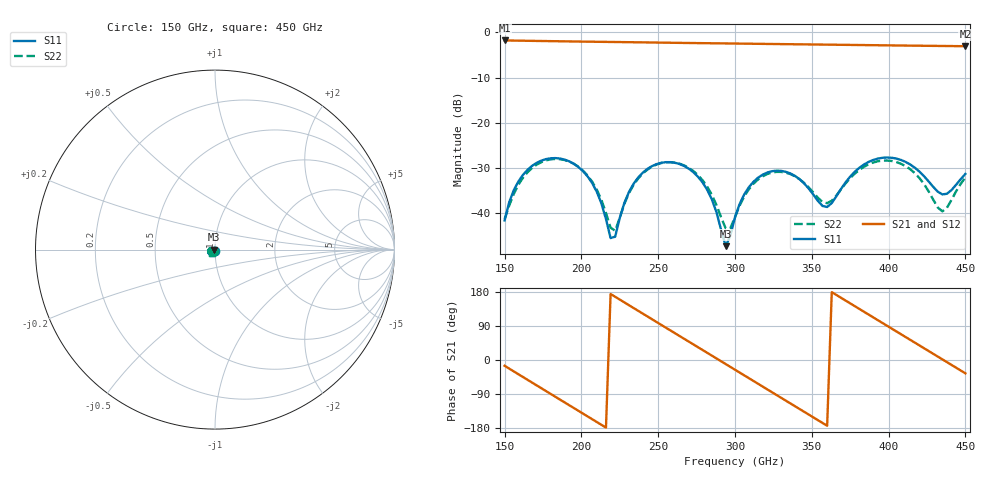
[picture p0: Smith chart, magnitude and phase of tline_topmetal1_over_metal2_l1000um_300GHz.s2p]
#  GHZ S DB R 50
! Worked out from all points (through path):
!   101 points, 150 GHz to 450 GHz, reference 50 ohm
!   highest |S21| = -1.78 dB at 150 GHz (marker M1); lowest = -3.1 dB at 450 GHz (marker M2)
!   group delay of S21, straight-line fit = 6.85 ps
!   lowest |S11| = -47.4 dB at 294 GHz (marker M3), VSWR 1.01, Z = 49.6 - j0.0966 ohm
!   |S11| at or under -10 dB: start of sweep to end of sweep
!   |S22| runs from -44.0 to -28.0 dB; largest |S21 - S12| = 9.1e-14
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150  -41.68 -83.5  -1.78 -15.3  -1.78 -15.3  -41.37 -125.4
159  -33.02 -95.9  -1.82 -37.6  -1.82 -37.6  -33.75 -110.0
177  -28.08 -137.4  -1.91 -82.1  -1.91 -82.1  -28.36 -142.6
201  -30.73 168.3  -2.03 -141.4  -2.03 -141.4  -30.62 167.0
210  -35.31 153.5  -2.07 -163.6  -2.07 -163.6  -34.83 153.8
219  -45.58 -179.2  -2.11 174.2  -2.11 174.2  -43.29 176.3
222  -45.27 -132.4  -2.12 166.8  -2.12 166.8  -43.96 -148.2
234  -33.53 -112.9  -2.17 137.1  -2.17 137.1  -33.77 -118.8
252  -28.89 -148.8  -2.26 92.7  -2.26 92.7  -28.96 -151.5
279  -33.30 155.6  -2.38 26.1  -2.38 26.1  -32.81 156.7
294  -47.38 -166.8  -2.43 -10.9  -2.43 -10.9  -43.49 -179.5
300  -40.98 -111.5  -2.46 -25.7  -2.46 -25.7  -40.92 -131.3
309  -34.32 -115.6  -2.50 -47.9  -2.50 -47.9  -34.77 -125.6
324  -30.76 -142.2  -2.56 -84.9  -2.56 -84.9  -31.07 -148.1
351  -35.94 -172.7  -2.67 -151.4  -2.67 -151.4  -35.49 -176.5
360  -38.69 -141.9  -2.70 -173.6  -2.70 -173.6  -37.85 -152.0
372  -33.23 -115.7  -2.75 156.9  -2.75 156.9  -33.47 -127.5
387  -28.70 -132.8  -2.81 119.9  -2.81 119.9  -29.23 -143.0
402  -27.78 -158.3  -2.87 83.0  -2.87 83.0  -28.49 -168.9
420  -30.82 177.6  -2.94 38.7  -2.94 38.7  -32.25 164.2
435  -35.90 -162.6  -3.00 1.7  -3.00 1.7  -39.65 -163.6
450  -31.36 -133.7  -3.06 -35.2  -3.06 -35.2  -32.14 -129.9
